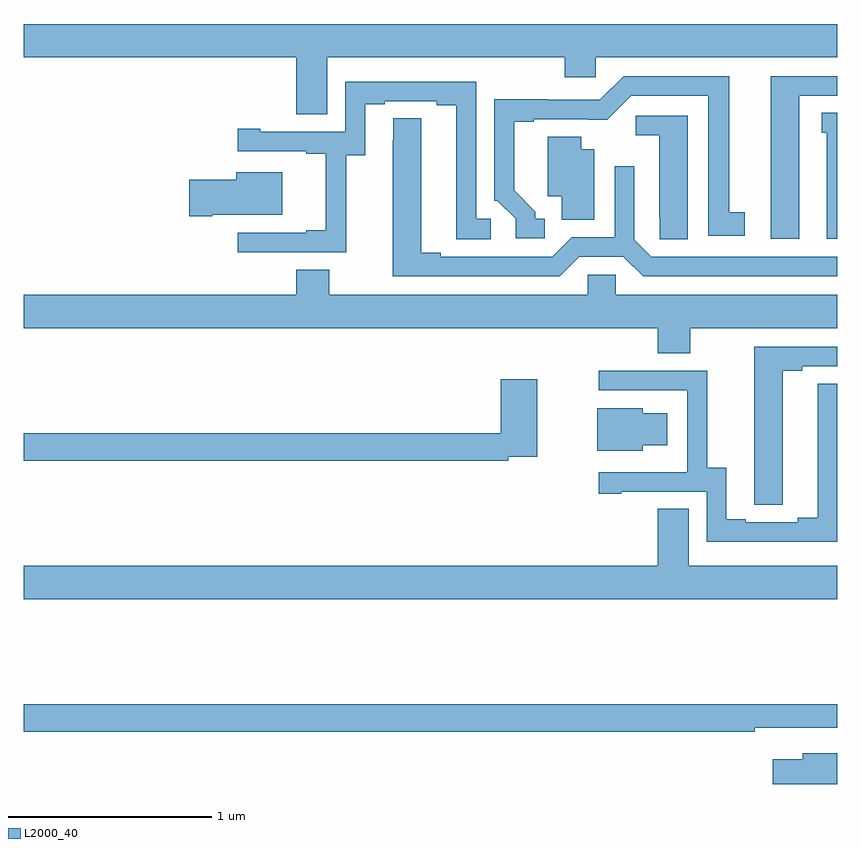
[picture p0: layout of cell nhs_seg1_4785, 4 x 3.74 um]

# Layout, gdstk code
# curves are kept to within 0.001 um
import gdstk
lib = gdstk.Library(unit=1e-6, precision=1e-09)
def P(c, l, *ps):  # polygons
    for p in ps: c.add(gdstk.Polygon(p, *l))
L2000_40 = (2000, 40)

nhs_seg1_4785 = lib.new_cell('nhs_seg1_4785')
P(nhs_seg1_4785, L2000_40, [(372.493,511.772),(373.661,511.772),(373.661,511.674),(373.812,511.674),(373.812,511.772),(375,511.772),(375,511.936),(371,511.936),(371,511.772),(372.341,511.772),(372.341,511.492),(372.493,511.492)],
  [(374.812,511.584),(375,511.584),(375,511.68),(374.672,511.68),(374.672,510.879),(374.812,510.879)],
  [(373.561,510.978),(373.516,510.978),(373.516,511.013),(373.411,511.118),(373.411,511.455),(373.507,511.455),(373.507,511.467),(373.868,511.466),(373.986,511.584),(374.366,511.584),(374.366,510.894),(374.545,510.894),(374.545,511.01),(374.47,511.01),(374.47,511.68),(373.95,511.68),(373.833,511.563),(373.577,511.563),(373.577,511.565),(373.314,511.565),(373.314,511.068),(373.329,511.068),(373.419,510.978),(373.419,510.882),(373.561,510.882)],
  [(372.585,511.291),(372.679,511.291),(372.679,511.542),(372.775,511.542),(372.775,511.557),(373.031,511.557),(373.031,511.537),(373.127,511.537),(373.127,510.877),(373.297,510.877),(373.297,510.978),(373.224,510.978),(373.224,511.653),(372.582,511.653),(372.582,511.407),(372.163,511.407),(372.163,511.42),(372.051,511.42),(372.051,511.311),(372.389,511.311),(372.389,511.299),(372.485,511.299),(372.485,510.922),(372.389,510.922),(372.389,510.909),(372.051,510.909),(372.051,510.813),(372.585,510.813)],
  [(375,511.499),(374.924,511.499),(374.924,511.401),(374.948,511.401),(374.948,510.879),(375,510.879)],
  [(374.266,511.485),(374.01,511.485),(374.01,511.388),(374.126,511.388),(374.126,510.985),(374.127,510.985),(374.127,510.877),(374.266,510.877)],
  [(373.731,510.792),(373.949,510.792),(374.045,510.696),(375,510.696),(375,510.792),(374.085,510.792),(374.001,510.876),(374.001,511.237),(373.905,511.237),(373.905,510.888),(373.695,510.888),(373.599,510.792),(373.051,510.792),(373.051,510.812),(372.955,510.812),(372.955,511.472),(372.816,511.472),(372.815,510.696),(373.635,510.696)],
  [(373.804,511.321),(373.741,511.321),(373.741,511.382),(373.577,511.382),(373.577,511.088),(373.646,511.088),(373.646,510.973),(373.804,510.973)],
  [(371.926,510.998),(372.271,510.998),(372.271,511.207),(372.044,511.207),(372.044,511.169),(371.814,511.169),(371.814,510.991),(371.926,510.991)],
  [(374.277,510.44),(375,510.44),(375,510.604),(373.911,510.604),(373.911,510.702),(373.773,510.702),(373.773,510.604),(372.501,510.604),(372.501,510.728),(372.341,510.728),(372.341,510.604),(371,510.604),(371,510.44),(374.117,510.44),(374.117,510.316),(374.277,510.316)],
  [(374.731,510.232),(374.827,510.232),(374.827,510.252),(375,510.252),(375,510.348),(374.591,510.348),(374.591,509.68),(374.592,509.68),(374.592,509.572),(374.731,509.572)],
  [(375,510.167),(374.903,510.167),(374.903,509.507),(374.807,509.507),(374.807,509.487),(374.551,509.487),(374.551,509.502),(374.455,509.502),(374.455,509.753),(374.361,509.753),(374.361,510.231),(373.827,510.231),(373.827,510.135),(374.262,510.135),(374.262,509.734),(374.261,509.734),(374.261,509.733),(373.827,509.733),(373.827,509.625),(373.939,509.625),(373.939,509.637),(374.358,509.637),(374.358,509.391),(375,509.391)],
  [(373.382,509.808),(373.524,509.808),(373.524,510.19),(373.346,510.19),(373.346,509.924),(371,509.924),(371,509.788),(373.382,509.788)],
  [(374.043,509.864),(374.164,509.864),(374.164,510.022),(374.043,510.022),(374.043,510.046),(373.82,510.046),(373.82,509.837),(374.043,509.837)],
  [(375,509.272),(374.269,509.272),(374.269,509.552),(374.117,509.552),(374.117,509.272),(371,509.272),(371,509.108),(375,509.108)],
  [(374.594,508.476),(375,508.476),(375,508.592),(371,508.592),(371,508.456),(374.594,508.456)],
  [(375,508.35),(374.831,508.35),(374.831,508.321),(374.682,508.321),(374.682,508.199),(375,508.199)])

lib.write_gds('nhs_seg1_4785.gds')
